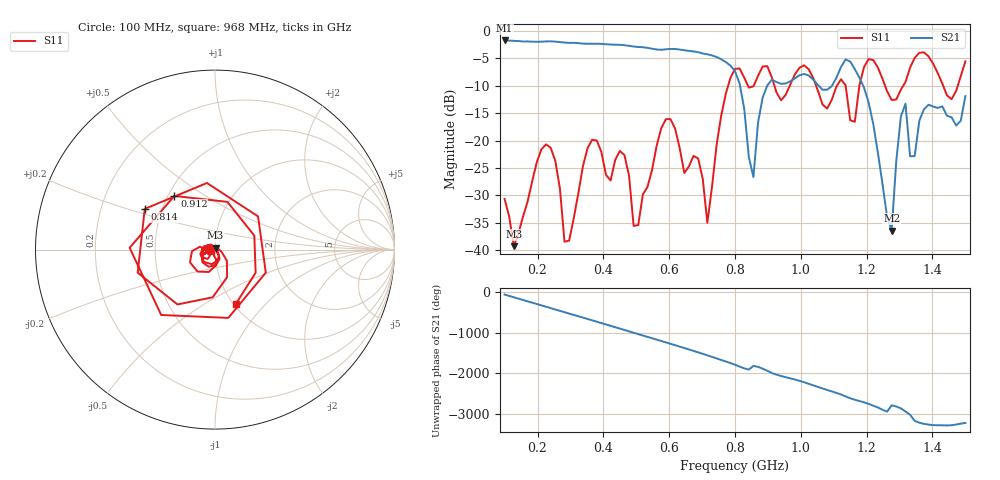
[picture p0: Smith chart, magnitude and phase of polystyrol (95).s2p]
! NanoVNA-App
! Date: 2025-09-26 09:42:37
! Start: 100MHz Stop: 1,5GHz Points: 101
! S-Parameter data: F S11 S21 S12 S22
# Hz S RI R 50
!  Frequency  S11_Real  S11_Imag  S21_Real  S21_Imag  S12_Real  S12_Imag  S22_Real  S22_Imag
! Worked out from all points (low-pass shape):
!   101 points, 100 MHz to 1.5 GHz, reference 50 ohm
!   highest |S21| = -1.79 dB at 100 MHz (marker M1); lowest = -36.4 dB at 1.276 GHz (marker M2)
!   |S21| within 3 dB of the highest: start of sweep to 743.3 MHz
!   lowest |S11| = -39.2 dB at 128 MHz (marker M3), VSWR 1.02, Z = 50.3 + j1.06 ohm
!   |S11| at or under -10 dB: start of sweep to 779.3 MHz; 1.046 GHz to 1.11 GHz (64.05 MHz wide, 5.94 % of centre); 1.256 GHz to 1.312 GHz (55.78 MHz wide, 4.35 % of centre) (the widest 3 of 7)
!   S12 and S22 are empty: the file has one direction only
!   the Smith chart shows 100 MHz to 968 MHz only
!   S11 on the Smith chart (normalised r, x): 100 MHz: 0.94, -0.01; 814 MHz: 0.40, +0.23; 912 MHz: 0.54, +0.38; 968 MHz: 1.03, -0.69
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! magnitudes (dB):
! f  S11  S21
! 100 MHz  -30.7  -1.8
! 128 MHz  -39.2  -1.9
! 212 MHz  -21.6  -2.0
! 254 MHz  -23.7  -2.0
! 282 MHz  -38.4  -2.2
! 338 MHz  -24.7  -2.4
! 464 MHz  -22.6  -2.7
! 506 MHz  -35.4  -3.0
! 576 MHz  -17.8  -3.5
! 688 MHz  -23.3  -3.9
! 716 MHz  -35.0  -4.3
! 800 MHz  -6.9  -7.4
! 814 MHz  -6.9  -9.7
! 856 MHz  -10.2  -26.7
! 912 MHz  -8.5  -8.9
! 968 MHz  -9.8  -9.2
! 1.038 GHz  -8.7  -8.9
! 1.178 GHz  -10.0  -8.5
! 1.276 GHz  -12.6  -36.4
! 1.318 GHz  -9.4  -13.3
! 1.346 GHz  -5.0  -22.8
! 1.5 GHz  -5.6  -11.9
